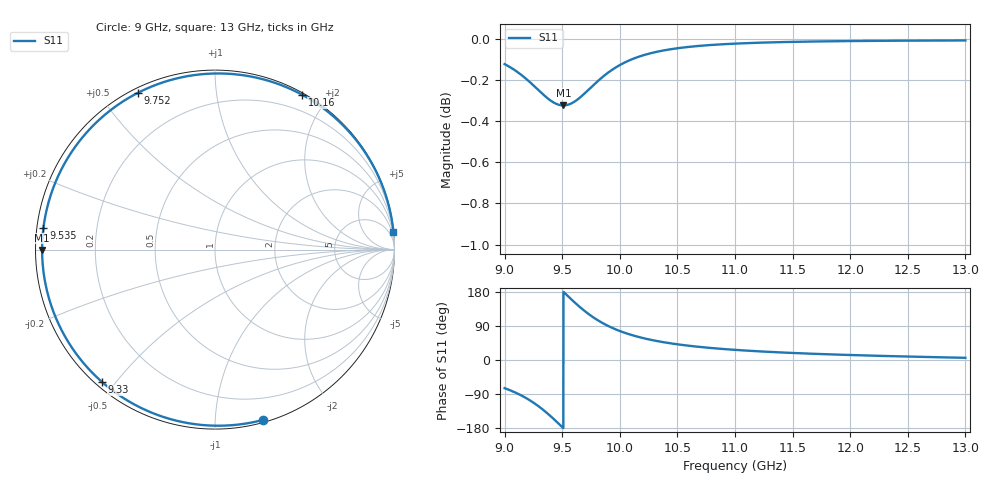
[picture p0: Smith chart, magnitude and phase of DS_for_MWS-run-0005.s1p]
! TOUCHSTONE file generated by CST DESIGN STUDIO
! Date and time: Tue Feb  4 18:14:32 2025
! Project name: C:\Work\MatlabApps\UnitCellOptimizationMatlab\CST\unitcell.cst
! Tree item: Tasks\Sweep1\SPara1\S-Parameters
! Header version: 2024
! Port assignment regex: !\s*Touchstone port\s*([0-9]+)\s*=\s*(CST MWS port|CST DES external port|CST DES block port)\s*(.+)\s* \(\"(.*)\"\)(\s*mode\s*([0-9]+))?.*
! Touchstone port assignment:
! Touchstone port 1 = CST DES external port 1 ("")
# GHz S MA R 50
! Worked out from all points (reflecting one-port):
!   4001 points, 9 GHz to 13 GHz, reference 50 ohm
!   lowest |S11| = -0.3 dB at 9.51 GHz (marker M1), VSWR 53.64, Z = 0.932 - j0.0419 ohm
!   phase of S11 starts at -74 deg and turns -280 deg over the sweep
!   S11 on the Smith chart (normalised r, x): 9 GHz: 0.02, -1.32; 9.33 GHz: 0.02, -0.46; 9.535 GHz: 0.02, +0.06; 9.752 GHz: 0.02, +0.62; 10.16 GHz: 0.02, +1.71; 13 GHz: 0, +20
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9  0.9859 -74.3
9.088  0.9826 -85.2
9.191  0.9776 -101.2
9.264  0.9735 -115.4
9.33  0.9696 -130.4
9.376  0.9671 -142.0
9.423  0.9651 -154.8
9.462  0.9639 -165.9
9.5  0.9634 -177.0
9.51  0.9634 -179.9
9.535  0.9635 172.8
9.589  0.9648 157.2
9.649  0.9674 140.8
9.7  0.9702 128.1
9.752  0.9733 116.3
9.803  0.9763 106.0
9.86  0.9794 95.9
10  0.9854 76.5
10.079  0.9879 68.1
10.165  0.99 60.6
10.317  0.9927 50.4
10.5  0.9947 41.4
10.722  0.9962 33.6
11  0.9973 26.7
11.5  0.9983 18.6
12  0.9987 13.1
12.5  0.999 9.1
13  0.9991 5.8
